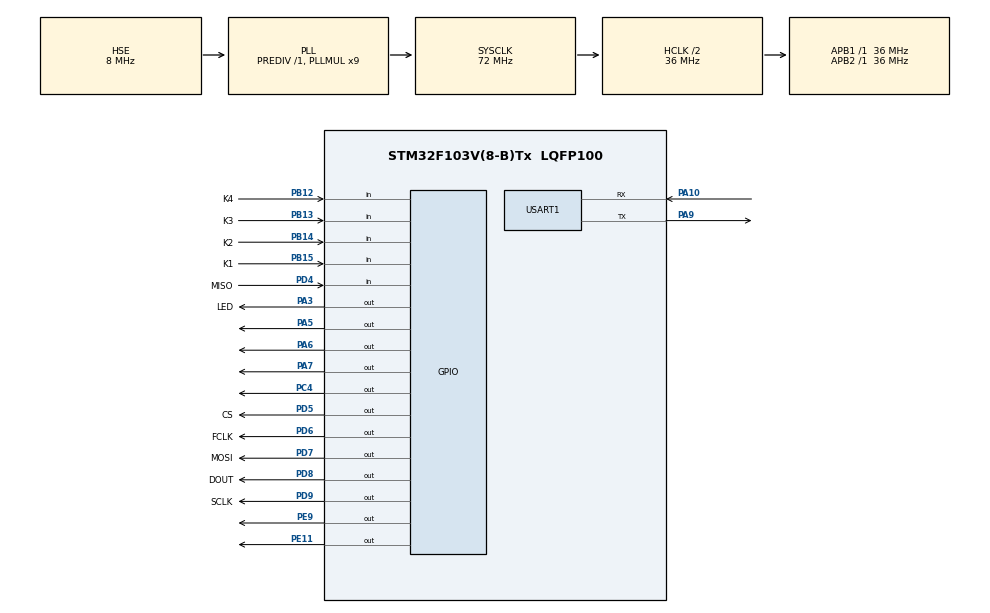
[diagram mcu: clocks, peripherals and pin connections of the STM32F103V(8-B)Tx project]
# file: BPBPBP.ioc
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Mcu.Family=STM32F1
Mcu.Name=STM32F103V(8-B)Tx
Mcu.Package=LQFP100
NVIC.PriorityGroup=NVIC_PRIORITYGROUP_4
NVIC.TIM1_UP_IRQn=true\:4\:0\:true\:false\:true\:true
OSC_IN.Mode=HSE-External-Oscillator
OSC_IN.Signal=RCC_OSC_IN
OSC_OUT.Mode=HSE-External-Oscillator
OSC_OUT.Signal=RCC_OSC_OUT
PA10.Mode=Asynchronous
PA10.Signal=USART1_RX
PA13.Mode=Serial_Wire
PA13.Signal=SYS_JTMS-SWDIO
PA14.Mode=Serial_Wire
PA14.Signal=SYS_JTCK-SWCLK
PA3.GPIO_Label=LED
PA3.Signal=GPIO_Output
PA5.Signal=GPIO_Output
PA6.Signal=GPIO_Output
PA7.Signal=GPIO_Output
PA9.Mode=Asynchronous
PA9.Signal=USART1_TX
PB12.GPIO_Label=K4
PB12.GPIO_PuPd=GPIO_PULLUP
PB12.Signal=GPIO_Input
PB13.GPIO_Label=K3
PB13.GPIO_PuPd=GPIO_PULLUP
PB13.Signal=GPIO_Input
PB14.GPIO_Label=K2
PB14.GPIO_PuPd=GPIO_PULLUP
PB14.Signal=GPIO_Input
PB15.GPIO_Label=K1
PB15.GPIO_PuPd=GPIO_PULLUP
PB15.Signal=GPIO_Input
PC4.Signal=GPIO_Output
PD4.GPIO_Label=MISO
PD4.Signal=GPIO_Input
PD5.GPIO_Label=CS
PD5.Signal=GPIO_Output
PD6.GPIO_Label=FCLK
PD6.Signal=GPIO_Output
PD7.GPIO_Label=MOSI
PD7.Signal=GPIO_Output
PD8.GPIO_Label=DOUT
PD8.Signal=GPIO_Output
PD9.GPIO_Label=SCLK
PD9.Signal=GPIO_Output
PE11.Signal=GPIO_Output
PE9.Signal=GPIO_Output
ProjectManager.HeapSize=0x200
ProjectManager.StackSize=0x400
ProjectManager.TargetToolchain=MDK-ARM V5
RCC.AHBCLKDivider=RCC_SYSCLK_DIV2
RCC.AHBFreq_Value=36000000
RCC.APB1Freq_Value=36000000
RCC.APB1TimFreq_Value=36000000
RCC.APB2Freq_Value=36000000
RCC.APB2TimFreq_Value=36000000
RCC.HCLKFreq_Value=36000000
RCC.PLLMUL=RCC_PLL_MUL9
RCC.PLLSourceVirtual=RCC_PLLSOURCE_HSE
RCC.SYSCLKFreq_VALUE=72000000
RCC.SYSCLKSource=RCC_SYSCLKSOURCE_PLLCLK
RCC.USBFreq_Value=72000000
TIM1.AutoReloadPreload=TIM_AUTORELOAD_PRELOAD_ENABLE
TIM1.Period=20 - 1
TIM1.Prescaler=36 - 1
TIM1.TIM_MasterOutputTrigger=TIM_TRGO_UPDATE
TIM1.TIM_MasterSlaveMode=TIM_MASTERSLAVEMODE_DISABLE
USART1.VirtualMode=VM_ASYNC
VP_TIM1_VS_ClockSourceINT.Mode=Internal
board=BPBPBP

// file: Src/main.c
/**
  ******************************************************************************
  * File Name          : main.c
  * Description        : Main program body
  ******************************************************************************
  ** This notice applies to any and all portions of this file
  * that are not between comment pairs USER CODE BEGIN and
  * USER CODE END. Other portions of this file, whether
  * inserted by the user or by software development tools
  * are owned by their respective copyright owners.
  *
  * COPYRIGHT(c) 2018 STMicroelectronics
  *
  * Redistribution and use in source and binary forms, with or without modification,
  * are permitted provided that the following conditions are met:
  *   1. Redistributions of source code must retain the above copyright notice,
  *      this list of conditions and the following disclaimer.
  *   2. Redistributions in binary form must reproduce the above copyright notice,
  *      this list of conditions and the following disclaimer in the documentation
  *      and/or other materials provided with the distribution.
  *   3. Neither the name of STMicroelectronics nor the names of its contributors
  *      may be used to endorse or promote products derived from this software
  *      without specific prior written permission.
  *
  * THIS SOFTWARE IS PROVIDED BY THE COPYRIGHT HOLDERS AND CONTRIBUTORS "AS IS"
  * AND ANY EXPRESS OR IMPLIED WARRANTIES, INCLUDING, BUT NOT LIMITED TO, THE
  * IMPLIED WARRANTIES OF MERCHANTABILITY AND FITNESS FOR A PARTICULAR PURPOSE ARE
  * DISCLAIMED. IN NO EVENT SHALL THE COPYRIGHT HOLDER OR CONTRIBUTORS BE LIABLE
  * FOR ANY DIRECT, INDIRECT, INCIDENTAL, SPECIAL, EXEMPLARY, OR CONSEQUENTIAL
  * DAMAGES (INCLUDING, BUT NOT LIMITED TO, PROCUREMENT OF SUBSTITUTE GOODS OR
  * SERVICES; LOSS OF USE, DATA, OR PROFITS; OR BUSINESS INTERRUPTION) HOWEVER
  * CAUSED AND ON ANY THEORY OF LIABILITY, WHETHER IN CONTRACT, STRICT LIABILITY,
  * OR TORT (INCLUDING NEGLIGENCE OR OTHERWISE) ARISING IN ANY WAY OUT OF THE USE
  * OF THIS SOFTWARE, EVEN IF ADVISED OF THE POSSIBILITY OF SUCH DAMAGE.
  *
  ******************************************************************************
  */

#include "main.h"
#include "stm32f1xx_hal.h"

/* USER CODE BEGIN Includes */
#include "./cs1237/cs1237.h"
#include "./pwm/pwm.h"
#include "./key/key.h"
#include "wholeconfig.h"
/* USER CODE END Includes */

TIM_HandleTypeDef htim1;

UART_HandleTypeDef huart1;

/* USER CODE BEGIN PV */
/* Private variables ---------------------------------------------------------*/
/**
*@brief fputc  --> printf --> A8_PRINTF_XXX
*/
int fputc(int n, FILE *Pf)
{
	uint8_t ch = (uint8_t)n;
	while(HAL_UART_STATE_READY != HAL_UART_GetState(&huart1));
	HAL_UART_Transmit(&huart1, &ch, 1, 0xffffffff);
	return n;
}
/* USER CODE END PV */

void SystemClock_Config(void);
static void MX_GPIO_Init(void);
static void MX_TIM1_Init(void);
static void MX_USART1_UART_Init(void);

/* USER CODE BEGIN PFP */
/* Private function prototypes -----------------------------------------------*/

/* USER CODE END PFP */

/* USER CODE BEGIN 0 */

#define MSP_40mmHg_AD   ((uint32_t)(40 * 0.3 * 64 * 8388607 / 3300))
#define MSP_160mmHg_AD   ((uint32_t)(140 * 0.3 * 64 * 8388607 / 3300))
#define SAMPLE_CYCLE_MS    50

int32_t msp_calculate_off()
{
    int32_t off = 0, i;
    int tmp = 0;
    int max = 0,min = -1;
    for(i = 0;i < 100;i++)
    {
        tmp = cs1237_read();
        if(tmp > max)
        {
            max = tmp;
        }
        else if(tmp < min)
        {
            min = tmp;
        }
        off += tmp;
        HAL_Delay(10);
    }
    off = (off - max - min) / 98;
    return off;
}
/* USER CODE END 0 */

int main(void)
{

  /* USER CODE BEGIN 1 */
    uint8_t key_value;
    int32_t ad_value = 0;
    uint8_t pwm_flag = 0;
    uint32_t lulTim = 0;
    int msp_off = 0;
  /* USER CODE END 1 */

  /* MCU Configuration----------------------------------------------------------*/

  /* Reset of all peripherals, Initializes the Flash interface and the Systick. */
  HAL_Init();

  /* Configure the system clock */
  SystemClock_Config();

  /* Initialize all configured peripherals */
  MX_GPIO_Init();
  MX_TIM1_Init();
  MX_USART1_UART_Init();

  /* USER CODE BEGIN 2 */
    //pwm_output_start(PWM_1);
    inflate_init();
    inflate_control_b(25);
    HAL_TIM_Base_Start_IT(&htim1);
    cs1237_init();
  /* USER CODE END 2 */

  /* Infinite loop */
  /* USER CODE BEGIN WHILE */
  lulTim = HAL_GetTick();
  deflate_onoff(0);
  while (1)
  {
  /* USER CODE END WHILE */

  /* USER CODE BEGIN 3 */
    key_value = k_read();
    if(key_value == BUTTON_K2)
    {
        deflate_onoff(0);
        msp_off = msp_calculate_off();
        inflate_control_b(80);
        pwm_flag = 0;
    }
    else if(key_value == BUTTON_K1)
    {
        inflate_control_b(0);
        deflate_onoff(1);
    }

    if(HAL_GetTick() - lulTim >= SAMPLE_CYCLE_MS)
    {
        ad_value = cs1237_read();
        b_log("%d\n\r", ad_value);
        lulTim = HAL_GetTick();
    }

    if(ad_value > (MSP_40mmHg_AD + msp_off) && pwm_flag == 0)
    {
        led_control(1);
        inflate_control_b(30);
        pwm_flag = 1;
    }
    else if(ad_value > (MSP_160mmHg_AD + msp_off))
    {
        inflate_control_b(0);
        led_control(0);
    }

  }
  /* USER CODE END 3 */

}

/** System Clock Configuration
*/
void SystemClock_Config(void)
{

  RCC_OscInitTypeDef RCC_OscInitStruct;
  RCC_ClkInitTypeDef RCC_ClkInitStruct;

    /**Initializes the CPU, AHB and APB busses clocks
    */
  RCC_OscInitStruct.OscillatorType = RCC_OSCILLATORTYPE_HSE;
  RCC_OscInitStruct.HSEState = RCC_HSE_ON;
  RCC_OscInitStruct.HSEPredivValue = RCC_HSE_PREDIV_DIV1;
  RCC_OscInitStruct.HSIState = RCC_HSI_ON;
  RCC_OscInitStruct.PLL.PLLState = RCC_PLL_ON;
  RCC_OscInitStruct.PLL.PLLSource = RCC_PLLSOURCE_HSE;
  RCC_OscInitStruct.PLL.PLLMUL = RCC_PLL_MUL9;
  if (HAL_RCC_OscConfig(&RCC_OscInitStruct) != HAL_OK)
  {
    _Error_Handler(__FILE__, __LINE__);
  }

    /**Initializes the CPU, AHB and APB busses clocks
    */
  RCC_ClkInitStruct.ClockType = RCC_CLOCKTYPE_HCLK|RCC_CLOCKTYPE_SYSCLK
                              |RCC_CLOCKTYPE_PCLK1|RCC_CLOCKTYPE_PCLK2;
  RCC_ClkInitStruct.SYSCLKSource = RCC_SYSCLKSOURCE_PLLCLK;
  RCC_ClkInitStruct.AHBCLKDivider = RCC_SYSCLK_DIV2;
  RCC_ClkInitStruct.APB1CLKDivider = RCC_HCLK_DIV1;
  RCC_ClkInitStruct.APB2CLKDivider = RCC_HCLK_DIV1;

  if (HAL_RCC_ClockConfig(&RCC_ClkInitStruct, FLASH_LATENCY_2) != HAL_OK)
  {
    _Error_Handler(__FILE__, __LINE__);
  }

    /**Configure the Systick interrupt time
    */
  HAL_SYSTICK_Config(HAL_RCC_GetHCLKFreq()/1000);

    /**Configure the Systick
    */
  HAL_SYSTICK_CLKSourceConfig(SYSTICK_CLKSOURCE_HCLK);

  /* SysTick_IRQn interrupt configuration */
  HAL_NVIC_SetPriority(SysTick_IRQn, 0, 0);
}

/* TIM1 init function */
static void MX_TIM1_Init(void)
{

  TIM_ClockConfigTypeDef sClockSourceConfig;
  TIM_MasterConfigTypeDef sMasterConfig;

  htim1.Instance = TIM1;
  htim1.Init.Prescaler = 36 - 1;
  htim1.Init.CounterMode = TIM_COUNTERMODE_UP;
  htim1.Init.Period = 20 - 1;
  htim1.Init.ClockDivision = TIM_CLOCKDIVISION_DIV1;
  htim1.Init.RepetitionCounter = 0;
  htim1.Init.AutoReloadPreload = TIM_AUTORELOAD_PRELOAD_ENABLE;
  if (HAL_TIM_Base_Init(&htim1) != HAL_OK)
  {
    _Error_Handler(__FILE__, __LINE__);
  }

  sClockSourceConfig.ClockSource = TIM_CLOCKSOURCE_INTERNAL;
  if (HAL_TIM_ConfigClockSource(&htim1, &sClockSourceConfig) != HAL_OK)
  {
    _Error_Handler(__FILE__, __LINE__);
  }

  sMasterConfig.MasterOutputTrigger = TIM_TRGO_UPDATE;
  sMasterConfig.MasterSlaveMode = TIM_MASTERSLAVEMODE_DISABLE;
  if (HAL_TIMEx_MasterConfigSynchronization(&htim1, &sMasterConfig) != HAL_OK)
  {
    _Error_Handler(__FILE__, __LINE__);
  }

}

/* USART1 init function */
static void MX_USART1_UART_Init(void)
{

  huart1.Instance = USART1;
  huart1.Init.BaudRate = 115200;
  huart1.Init.WordLength = UART_WORDLENGTH_8B;
  huart1.Init.StopBits = UART_STOPBITS_1;
  huart1.Init.Parity = UART_PARITY_NONE;
  huart1.Init.Mode = UART_MODE_TX_RX;
  huart1.Init.HwFlowCtl = UART_HWCONTROL_NONE;
  huart1.Init.OverSampling = UART_OVERSAMPLING_16;
  if (HAL_UART_Init(&huart1) != HAL_OK)
  {
    _Error_Handler(__FILE__, __LINE__);
  }

}

/** Configure pins as
        * Analog
        * Input
        * Output
        * EVENT_OUT
        * EXTI
*/
static void MX_GPIO_Init(void)
{

  GPIO_InitTypeDef GPIO_InitStruct;

  /* GPIO Ports Clock Enable */
  __HAL_RCC_GPIOA_CLK_ENABLE();
  __HAL_RCC_GPIOC_CLK_ENABLE();
  __HAL_RCC_GPIOE_CLK_ENABLE();
  __HAL_RCC_GPIOB_CLK_ENABLE();
  __HAL_RCC_GPIOD_CLK_ENABLE();

  /*Configure GPIO pin Output Level */
  HAL_GPIO_WritePin(GPIOA, LED_Pin|GPIO_PIN_5|GPIO_PIN_6|GPIO_PIN_7, GPIO_PIN_RESET);

  /*Configure GPIO pin Output Level */
  HAL_GPIO_WritePin(GPIOC, GPIO_PIN_4, GPIO_PIN_RESET);

  /*Configure GPIO pin Output Level */
  HAL_GPIO_WritePin(GPIOE, GPIO_PIN_9|GPIO_PIN_11, GPIO_PIN_RESET);

  /*Configure GPIO pin Output Level */
  HAL_GPIO_WritePin(GPIOD, DOUT_Pin|SCLK_Pin|CS_Pin|FCLK_Pin
                          |MOSI_Pin, GPIO_PIN_RESET);

  /*Configure GPIO pins : LED_Pin PA5 PA6 PA7 */
  GPIO_InitStruct.Pin = LED_Pin|GPIO_PIN_5|GPIO_PIN_6|GPIO_PIN_7;
  GPIO_InitStruct.Mode = GPIO_MODE_OUTPUT_PP;
  GPIO_InitStruct.Speed = GPIO_SPEED_FREQ_LOW;
  HAL_GPIO_Init(GPIOA, &GPIO_InitStruct);

  /*Configure GPIO pin : PC4 */
  GPIO_InitStruct.Pin = GPIO_PIN_4;
  GPIO_InitStruct.Mode = GPIO_MODE_OUTPUT_PP;
  GPIO_InitStruct.Speed = GPIO_SPEED_FREQ_LOW;
  HAL_GPIO_Init(GPIOC, &GPIO_InitStruct);

  /*Configure GPIO pins : PE9 PE11 */
  GPIO_InitStruct.Pin = GPIO_PIN_9|GPIO_PIN_11;
  GPIO_InitStruct.Mode = GPIO_MODE_OUTPUT_PP;
  GPIO_InitStruct.Speed = GPIO_SPEED_FREQ_LOW;
  HAL_GPIO_Init(GPIOE, &GPIO_InitStruct);

  /*Configure GPIO pins : K4_Pin K3_Pin K2_Pin K1_Pin */
  GPIO_InitStruct.Pin = K4_Pin|K3_Pin|K2_Pin|K1_Pin;
  GPIO_InitStruct.Mode = GPIO_MODE_INPUT;
  GPIO_InitStruct.Pull = GPIO_PULLUP;
  HAL_GPIO_Init(GPIOB, &GPIO_InitStruct);

  /*Configure GPIO pins : DOUT_Pin SCLK_Pin CS_Pin FCLK_Pin
                           MOSI_Pin */
  GPIO_InitStruct.Pin = DOUT_Pin|SCLK_Pin|CS_Pin|FCLK_Pin
                          |MOSI_Pin;
  GPIO_InitStruct.Mode = GPIO_MODE_OUTPUT_PP;
  GPIO_InitStruct.Speed = GPIO_SPEED_FREQ_LOW;
  HAL_GPIO_Init(GPIOD, &GPIO_InitStruct);

  /*Configure GPIO pin : MISO_Pin */
  GPIO_InitStruct.Pin = MISO_Pin;
  GPIO_InitStruct.Mode = GPIO_MODE_INPUT;
  GPIO_InitStruct.Pull = GPIO_NOPULL;
  HAL_GPIO_Init(MISO_GPIO_Port, &GPIO_InitStruct);

}

void _Error_Handler(char * file, int line)
{
  while(1)
  {
  }
}

/************************ (C) COPYRIGHT STMicroelectronics *****END OF FILE****/
